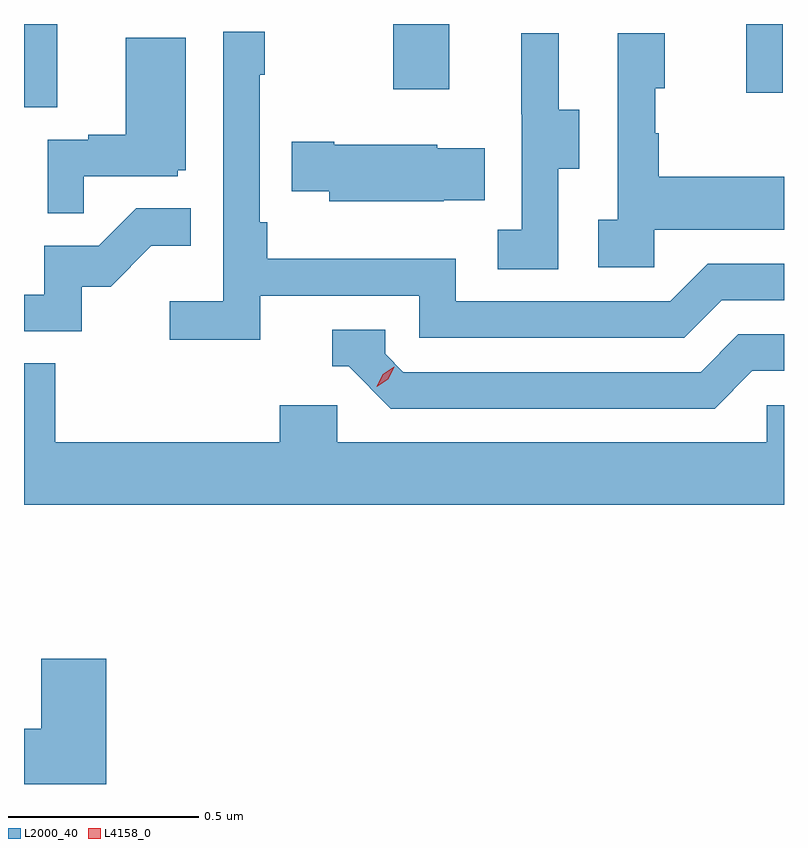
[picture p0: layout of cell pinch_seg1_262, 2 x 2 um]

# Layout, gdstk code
import gdstk
lib = gdstk.Library(unit=1e-6, precision=1e-09)
def R(c, l, rs):  # rectangles x0, y0, x1, y1
    for r in rs: c.add(gdstk.rectangle(r[:2], r[2:], *l))
def P(c, l, *ps):  # polygons
    for p in ps: c.add(gdstk.Polygon(p, *l))
L2000_40 = (2000, 40)
L4158_0 = (4158, 0)

pinch_seg1_262 = lib.new_cell('pinch_seg1_262')
R(pinch_seg1_262, L2000_40, [(921.43,579.418,921.517,579.637), (923.33,579.456,923.427,579.637), (922.402,579.465,922.549,579.637)])
P(pinch_seg1_262, L2000_40, [(922.052,578.922),(922.47,578.922),(922.47,578.811),(923.167,578.811),(923.266,578.91),(923.43,578.91),(923.43,579.006),(923.229,579.006),(923.13,578.907),(922.566,578.907),(922.566,579.019),(922.07,579.019),(922.07,579.115),(922.05,579.115),(922.05,579.503),(922.063,579.503),(922.063,579.616),(921.954,579.616),(921.954,578.908),(921.813,578.908),(921.813,578.806),(922.052,578.806)],
  [(922.836,579.256),(922.891,579.256),(922.891,579.411),(922.837,579.411),(922.837,579.613),(922.739,579.613),(922.739,579.399),(922.74,579.399),(922.74,579.095),(922.677,579.095),(922.677,578.992),(922.836,578.992)],
  [(923.088,579.095),(923.43,579.095),(923.43,579.235),(923.101,579.235),(923.101,579.35),(923.091,579.35),(923.091,579.468),(923.116,579.468),(923.116,579.613),(922.992,579.613),(922.992,579.122),(922.941,579.122),(922.941,578.997),(923.088,578.997)],
  [(921.587,579.237),(921.834,579.237),(921.834,579.252),(921.856,579.252),(921.856,579.601),(921.698,579.601),(921.698,579.346),(921.599,579.346),(921.599,579.333),(921.492,579.333),(921.492,579.139),(921.587,579.139)],
  [(922.535,579.173),(922.643,579.173),(922.643,579.31),(922.518,579.31),(922.518,579.319),(922.246,579.319),(922.246,579.327),(922.135,579.327),(922.135,579.197),(922.233,579.197),(922.233,579.17),(922.535,579.17)],
  [(921.582,578.946),(921.658,578.946),(921.765,579.053),(921.869,579.053),(921.869,579.152),(921.725,579.152),(921.627,579.054),(921.483,579.054),(921.483,578.925),(921.43,578.925),(921.43,578.829),(921.582,578.829)],
  [(923.347,578.724),(923.43,578.724),(923.43,578.82),(923.31,578.82),(923.211,578.721),(922.428,578.721),(922.38,578.769),(922.38,578.832),(922.241,578.832),(922.241,578.736),(922.284,578.736),(922.395,578.625),(923.248,578.625)],
  [(923.43,578.634),(923.385,578.634),(923.385,578.536),(922.254,578.536),(922.254,578.634),(922.103,578.634),(922.103,578.536),(921.512,578.536),(921.512,578.744),(921.43,578.744),(921.43,578.372),(923.43,578.372)],
  [(921.647,577.966),(921.476,577.966),(921.476,577.783),(921.43,577.783),(921.43,577.637),(921.647,577.637)])
P(pinch_seg1_262, L4158_0, [(922.358,578.682),(922.358,578.682),(922.374,578.715),(922.404,578.735),(922.404,578.735),(922.404,578.735),(922.389,578.702),(922.358,578.682)])

lib.write_gds('pinch_seg1_262.gds')
